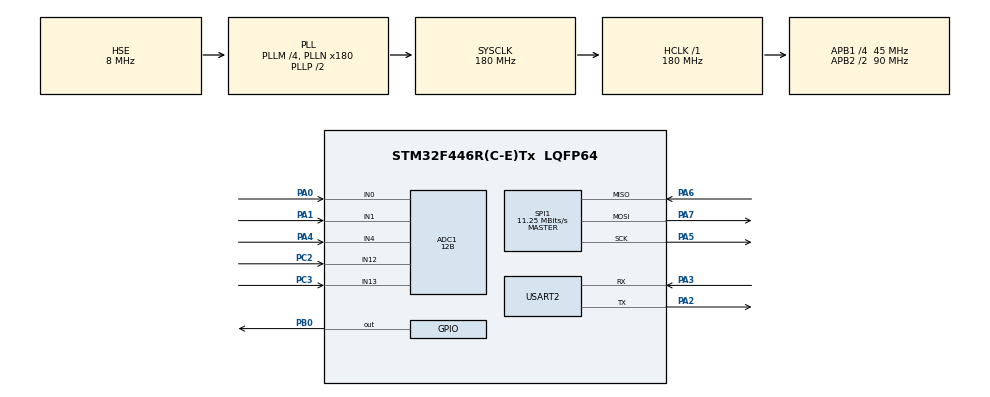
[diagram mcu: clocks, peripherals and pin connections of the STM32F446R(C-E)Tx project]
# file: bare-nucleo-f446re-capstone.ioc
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ADC1.Channel-0\#ChannelRegularConversion=ADC_CHANNEL_0
ADC1.Channel-1\#ChannelRegularConversion=ADC_CHANNEL_1
ADC1.Channel-2\#ChannelRegularConversion=ADC_CHANNEL_12
ADC1.Channel-3\#ChannelRegularConversion=ADC_CHANNEL_13
ADC1.Channel-4\#ChannelRegularConversion=ADC_CHANNEL_4
ADC1.ClockPrescaler=ADC_CLOCK_SYNC_PCLK_DIV4
ADC1.ContinuousConvMode=ENABLE
ADC1.DMAContinuousRequests=ENABLE
ADC1.EnableAnalogWatchDog=false
ADC1.NbrOfConversion=5
ADC1.NbrOfConversionFlag=1
ADC1.Rank-0\#ChannelRegularConversion=1
ADC1.Rank-1\#ChannelRegularConversion=2
ADC1.Rank-2\#ChannelRegularConversion=3
ADC1.Rank-3\#ChannelRegularConversion=4
ADC1.Rank-4\#ChannelRegularConversion=5
ADC1.Resolution=ADC_RESOLUTION_12B
ADC1.SamplingTime-0\#ChannelRegularConversion=ADC_SAMPLETIME_480CYCLES
ADC1.SamplingTime-1\#ChannelRegularConversion=ADC_SAMPLETIME_480CYCLES
ADC1.SamplingTime-2\#ChannelRegularConversion=ADC_SAMPLETIME_480CYCLES
ADC1.SamplingTime-3\#ChannelRegularConversion=ADC_SAMPLETIME_480CYCLES
ADC1.SamplingTime-4\#ChannelRegularConversion=ADC_SAMPLETIME_480CYCLES
ADC1.ScanConvMode=ENABLE
ADC1.master=1
Dma.ADC1.0.Direction=DMA_PERIPH_TO_MEMORY
Dma.ADC1.0.FIFOMode=DMA_FIFOMODE_DISABLE
Dma.ADC1.0.Instance=DMA2_Stream0
Dma.ADC1.0.MemDataAlignment=DMA_MDATAALIGN_HALFWORD
Dma.ADC1.0.MemInc=DMA_MINC_ENABLE
Dma.ADC1.0.Mode=DMA_CIRCULAR
Dma.ADC1.0.PeriphDataAlignment=DMA_PDATAALIGN_HALFWORD
Dma.ADC1.0.PeriphInc=DMA_PINC_DISABLE
Dma.ADC1.0.Priority=DMA_PRIORITY_LOW
Dma.Request0=ADC1
FATFS._MAX_SS=4096
FATFS._USE_LFN=1
Mcu.Family=STM32F4
Mcu.Name=STM32F446R(C-E)Tx
Mcu.Package=LQFP64
NVIC.DMA2_Stream0_IRQn=true\:0\:0\:false\:false\:true\:false\:true\:true
NVIC.PriorityGroup=NVIC_PRIORITYGROUP_0
PA0-WKUP.Signal=ADCx_IN0
PA1.Signal=ADCx_IN1
PA13.Mode=Serial_Wire
PA13.Signal=SYS_JTMS-SWDIO
PA14.Mode=Serial_Wire
PA14.Signal=SYS_JTCK-SWCLK
PA2.Mode=Asynchronous
PA2.Signal=USART2_TX
PA3.Mode=Asynchronous
PA3.Signal=USART2_RX
PA4.Signal=ADCx_IN4
PA5.Mode=Full_Duplex_Master
PA5.Signal=SPI1_SCK
PA6.Mode=Full_Duplex_Master
PA6.Signal=SPI1_MISO
PA7.Mode=Full_Duplex_Master
PA7.Signal=SPI1_MOSI
PB0.Signal=GPIO_Output
PC2.Signal=ADCx_IN12
PC3.Signal=ADCx_IN13
PH0-OSC_IN.Mode=HSE-External-Oscillator
PH0-OSC_IN.Signal=RCC_OSC_IN
PH1-OSC_OUT.Mode=HSE-External-Oscillator
PH1-OSC_OUT.Signal=RCC_OSC_OUT
ProjectManager.HeapSize=0x200
ProjectManager.StackSize=0x400
ProjectManager.TargetToolchain=STM32CubeIDE
RCC.AHBFreq_Value=180000000
RCC.APB1CLKDivider=RCC_HCLK_DIV4
RCC.APB1Freq_Value=45000000
RCC.APB1TimFreq_Value=90000000
RCC.APB2CLKDivider=RCC_HCLK_DIV2
RCC.APB2Freq_Value=90000000
RCC.APB2TimFreq_Value=180000000
RCC.CortexFreq_Value=180000000
RCC.FLatency-AdvancedSettings=FLASH_LATENCY_5
RCC.HCLKFreq_Value=180000000
RCC.HSE_VALUE=8000000
RCC.HSI_VALUE=16000000
RCC.LSE_VALUE=32768
RCC.PLLM=4
RCC.PLLN=180
RCC.PLLQ=8
RCC.PLLSourceVirtual=RCC_PLLSOURCE_HSE
RCC.SYSCLKFreq_VALUE=180000000
RCC.SYSCLKSource=RCC_SYSCLKSOURCE_PLLCLK
RCC.USBFreq_Value=45000000
RCC.VCOOutputFreq_Value=360000000
SH.ADCx_IN0.0=ADC1_IN0,IN0
SH.ADCx_IN1.0=ADC1_IN1,IN1
SH.ADCx_IN12.0=ADC1_IN12,IN12
SH.ADCx_IN13.0=ADC1_IN13,IN13
SH.ADCx_IN4.0=ADC1_IN4,IN4
SPI1.BaudRatePrescaler=SPI_BAUDRATEPRESCALER_8
SPI1.CalculateBaudRate=11.25 MBits/s
SPI1.Direction=SPI_DIRECTION_2LINES
SPI1.Mode=SPI_MODE_MASTER
SPI1.VirtualType=VM_MASTER
USART2.VirtualMode=VM_ASYNC
VP_FATFS_VS_Generic.Mode=User_defined
VP_TIM1_VS_ClockSourceINT.Mode=Internal
board=NUCLEO-F446RE

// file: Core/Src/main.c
/* USER CODE BEGIN Header */
/**
  ******************************************************************************
  * @file           : main.c
  * @brief          : Main program body
  ******************************************************************************
  * @attention
  *
  * Copyright (c) 2023 STMicroelectronics.
  * All rights reserved.
  *
  * This software is licensed under terms that can be found in the LICENSE file
  * in the root directory of this software component.
  * If no LICENSE file comes with this software, it is provided AS-IS.
  *
  ******************************************************************************
  */
/* USER CODE END Header */
#include "main.h"
#include "fatfs.h"

/* USER CODE BEGIN Includes */
#include "fatfs_sd.h"
#include "string.h"
#include <stdio.h>
#include <math.h>

/* USER CODE END Includes */

/* USER CODE BEGIN PD */

// Number of channels being read by ADC (set to 5 when ready)
#define NUM_CHANNELS 4000
// Number of samples per channel
#define NUM_SAMPLES 800
// Total number of samples across each channel (5*800 = buffer size of 4000)
#define TOTAL_SAMPLES (NUM_CHANNELS*NUM_SAMPLES)

// * Buffer that might be used for saving to SD card *
#define BUFFER_SIZE 128

/* USER CODE END PD */

ADC_HandleTypeDef hadc1;
DMA_HandleTypeDef hdma_adc1;

SPI_HandleTypeDef hspi1;

TIM_HandleTypeDef htim1;

UART_HandleTypeDef huart2;

/* USER CODE BEGIN PV */

// Store ADC values for each channel

// 16 bit (Half Word) ADC DMA data width
// ADC array for data (size of 5, width of 16 bits)
uint16_t adc_data[NUM_CHANNELS];
uint16_t SD_value[NUM_CHANNELS];

uint16_t adc_buf_max;

static volatile uint16_t *fromADC_Ptr;
static volatile uint16_t *toSD_Ptr = &adc_data[0];

volatile uint8_t dataReady = 0;

/* USER CODE END PV */

void SystemClock_Config(void);
static void MX_GPIO_Init(void);
static void MX_DMA_Init(void);
static void MX_SPI1_Init(void);
static void MX_ADC1_Init(void);
static void MX_TIM1_Init(void);
static void MX_USART2_UART_Init(void);

/* USER CODE BEGIN 0 */

//_____Print to console
int __io_putchar(int ch){
	HAL_UART_Transmit(&huart2, (uint8_t *)&ch, 1, 0xFFFF);
	return ch;
}

int _write(int file, char *ptr, int len){
	int DataIdx;
	for(DataIdx = 0; DataIdx < len; DataIdx++){
		__io_putchar(*ptr++);
	}
	return len;
}

uint8_t count = 0;

//_____Mount and write to SD card
FATFS fs; // file system
FIL fil; // file (this needs to be changed)
FRESULT fresult;
UINT br, bw;
FATFS *pfs;
DWORD fre_clust;
uint32_t total, free_space;

// Buffer for UART? Might not even need this
char buffer[1024];

// Send data through UART
void send_uart(char *string){
	uint8_t len = strlen(string);
	HAL_UART_Transmit(&huart2, (uint8_t *) string, len, 2000);
}

// Find the size of data in buffer
int bufsize(char *buf){
	int i = 0;
	while(*buf++ != '\0'){
		i++;
	}
	return i;
}

// Clear buffer
void bufclear(void){
	for(int i = 0; i < 1024; i++){
		buffer[i] = '\0';
	}
}

// Size of buffer may need to match size of input buffer from sensors?
// Needs to be divisible by the number of bytes in each line
// that I am writing to the SD card

// Called when buffer is half filled
void HAL_ADC_ConvHalfCpltCallback(ADC_HandleTypeDef* hadc) {
	fromADC_Ptr = &adc_data[0];
	toSD_Ptr = &SD_value[0];

	dataReady = 1;
}

// Called when buffer is completely filled
void HAL_ADC_ConvCpltCallback(ADC_HandleTypeDef* hadc) {
	fromADC_Ptr = &adc_data[NUM_CHANNELS/2];
	toSD_Ptr = &SD_value[NUM_CHANNELS/2];

	dataReady = 1;
}

/* USER CODE END 0 */

int main(void)
{

  /* MCU Configuration--------------------------------------------------------*/

  /* Reset of all peripherals, Initializes the Flash interface and the Systick. */
  HAL_Init();

  /* Configure the system clock */
  SystemClock_Config();

  /* Initialize all configured peripherals */
  MX_GPIO_Init();
  MX_DMA_Init();
  MX_SPI1_Init();
  MX_FATFS_Init();
  MX_ADC1_Init();
  MX_TIM1_Init();
  MX_USART2_UART_Init();
  /* USER CODE BEGIN 2 */

  // Start DMA buffer
  // Might need to stop DMA at some point
  HAL_ADC_Start_DMA(&hadc1, (uint16_t*)adc_data, NUM_CHANNELS);

  adc_buf_max = 0;

  // What should I initialize these values to?
  // I could just not initialize them to a value, but then
  // use a HAL delay once the program starts so there is an
  // extremely quick (1 ms) grace period where it isn't checking
  // for explosions, but still filling the DMA buffer?
  uint16_t previous_audio;
  uint16_t previous_pressure;
  uint16_t previous_acc;

  uint16_t previous_acc_x;
  uint16_t previous_acc_y;
  uint16_t previous_acc_z;

  uint16_t current_audio;
  uint16_t current_pressure;
  uint16_t current_acc;

  uint16_t current_acc_x;
  uint16_t current_acc_y;
  uint16_t current_acc_z;

  // Mount SD card
  fresult = f_mount(&fs, "", 0);

  if(fresult != FR_OK){
	  send_uart("error in mounting SD card...\n");
  }
  else{
	  send_uart("SD card mounted successfully...\n");
  }

  // Check free space on SD card
  f_getfree("", &fre_clust, &pfs);

  total = (uint32_t)((pfs->n_fatent - 2) * pfs->csize * 0.5);
  sprintf(buffer, "SD card total size: \t%lu\n", total);
  send_uart(buffer);
  bufclear();
  free_space = (uint32_t)(fre_clust * pfs->csize * 0.5);
  sprintf(buffer, "SD card free space: \t%lu\n", free_space);
  send_uart(buffer);

  // ********** Using puts puts and gets **********

  // Open file 1, write to file, then close file
  fresult = f_open(&fil, "file1.txt", FA_OPEN_ALWAYS | FA_READ | FA_WRITE);
  fresult = f_puts("This data is from the first file\n\n", &fil);
  fresult = f_close(&fil);
  send_uart("file1.txt created and the data is written\n");
  fresult = f_open(&fil, "file1.txt", FA_READ);
  // Everything worked good except the "fil.fsize" reference
  // This has been replaced in ChaN's FatFs R0.12c version with f_size(&fil)
  f_gets(buffer, f_size(&fil), &fil);
  send_uart(buffer);
  f_close(&fil);
  bufclear();

  // ********** Using f_write and f_read **********

  // Open file 2
  fresult = f_open(&fil, "file2.txt", FA_OPEN_ALWAYS | FA_READ | FA_WRITE);
  // Write to file 2
  strcpy(buffer, "This is file 2 and it says 'Hello from Ethan!'\n");
  fresult = f_write(&fil, buffer, bufsize(buffer), &bw);
  send_uart("file 2.txt created and data is written\n");
  // Close file 2
  f_close(&fil);
  // Clear buffer to show that text is obtained from the file
  bufclear();

  // ********** UPDATE an existing file **********
  // Open file with write access
  fresult = f_open(&fil, "file2.txt", FA_OPEN_ALWAYS | FA_WRITE);
  // Move offset to end of file (append) (offset = file size)
  fresult = f_lseek(&fil, f_size(&fil));
  // Write string to file
  fresult = f_puts("This text should be appended\n", &fil);
  // Write string to file
  fresult = f_printf(&fil, "%d %s", 2023, "is the current year\n");
  // Close file
  f_close(&fil);

  // Open buffer file
  fresult = f_open(&fil, "adc_data.txt", FA_OPEN_ALWAYS | FA_WRITE);

  /* USER CODE END 2 */

  /* Infinite loop */
  /* USER CODE BEGIN WHILE */
  while (1)
  {
	  // bare-nucleo-f446re-capstone

    /* USER CODE END WHILE */

    /* USER CODE BEGIN 3 */

	  // Initialize respective sensor data variables
	  current_audio = adc_data[0];
	  current_pressure = adc_data[1];
	  current_acc = sqrt(pow(adc_data[2], 2) + pow(adc_data[3], 2) + pow(adc_data[4], 2));

	  current_acc_x = adc_data[2];
	  current_acc_y = adc_data[3];
	  current_acc_z = adc_data[4];

	  while(dataReady == 0) {
		  // Do stuff here with one half of ADC while
		  // other half is being filled?
		  fresult = f_lseek(&fil, f_size(&fil));
		  fresult = f_printf(&fil, "ADC channel 0 (audio) = %d\n", current_audio);
		  // fresult = f_sync(&fil);

		  // Increment count
		  count++;
	  }
	  dataReady = 0;

	  // FIXME: Change delay to be every microsecond (0.001)?
	  // HAL_Delay(250);

	  // Function to tell when DMA buffer is full
	  // When buffer full, write entire buffer to SD card
	  // Big for loop to loop through every value of buffer
	  // so that I can format each value properly?

//	  // Open new file to save count variable
//	  fresult = f_open(&fil, "ADC_count_log.txt", FA_OPEN_ALWAYS | FA_WRITE);
//	  // Move offset to end of file (append) (offset = file size)
//	  fresult = f_lseek(&fil, f_size(&fil));
//	  // Write string to file
//	  fresult = f_printf(&fil, "count = %d\n", count);
//	  // Close file
//	  f_close(&fil);

	  // The current samples will be the "previous" samples for the next samples
	  previous_audio = current_audio;
	  previous_pressure = current_pressure;
	  previous_acc = current_acc;

	  previous_acc_x = current_acc_x;
	  previous_acc_y = current_acc_y;
	  previous_acc_z = current_acc_z;

	  // Stop when count is a certain value (leads to unmount SD card)
	  if(count == 100) {
		  break;
	  }

  }

  // Stop ADC DMA and disable ADC
  HAL_ADC_Stop_DMA(&hadc1);

  // Close buffer file
  f_close(&fil);

  // After while loop when break
  // Unmount SD card
  fresult = f_mount(NULL, "", 1);

  /* USER CODE END 3 */
}

void SystemClock_Config(void)
{
  RCC_OscInitTypeDef RCC_OscInitStruct = {0};
  RCC_ClkInitTypeDef RCC_ClkInitStruct = {0};

  /** Configure the main internal regulator output voltage
  */
  __HAL_RCC_PWR_CLK_ENABLE();
  __HAL_PWR_VOLTAGESCALING_CONFIG(PWR_REGULATOR_VOLTAGE_SCALE1);

  /** Initializes the RCC Oscillators according to the specified parameters
  * in the RCC_OscInitTypeDef structure.
  */
  RCC_OscInitStruct.OscillatorType = RCC_OSCILLATORTYPE_HSE;
  RCC_OscInitStruct.HSEState = RCC_HSE_ON;
  RCC_OscInitStruct.PLL.PLLState = RCC_PLL_ON;
  RCC_OscInitStruct.PLL.PLLSource = RCC_PLLSOURCE_HSE;
  RCC_OscInitStruct.PLL.PLLM = 4;
  RCC_OscInitStruct.PLL.PLLN = 180;
  RCC_OscInitStruct.PLL.PLLP = RCC_PLLP_DIV2;
  RCC_OscInitStruct.PLL.PLLQ = 8;
  RCC_OscInitStruct.PLL.PLLR = 2;
  if (HAL_RCC_OscConfig(&RCC_OscInitStruct) != HAL_OK)
  {
    Error_Handler();
  }

  /** Activate the Over-Drive mode
  */
  if (HAL_PWREx_EnableOverDrive() != HAL_OK)
  {
    Error_Handler();
  }

  /** Initializes the CPU, AHB and APB buses clocks
  */
  RCC_ClkInitStruct.ClockType = RCC_CLOCKTYPE_HCLK|RCC_CLOCKTYPE_SYSCLK
                              |RCC_CLOCKTYPE_PCLK1|RCC_CLOCKTYPE_PCLK2;
  RCC_ClkInitStruct.SYSCLKSource = RCC_SYSCLKSOURCE_PLLCLK;
  RCC_ClkInitStruct.AHBCLKDivider = RCC_SYSCLK_DIV1;
  RCC_ClkInitStruct.APB1CLKDivider = RCC_HCLK_DIV4;
  RCC_ClkInitStruct.APB2CLKDivider = RCC_HCLK_DIV2;

  if (HAL_RCC_ClockConfig(&RCC_ClkInitStruct, FLASH_LATENCY_5) != HAL_OK)
  {
    Error_Handler();
  }
}

static void MX_ADC1_Init(void)
{

  ADC_ChannelConfTypeDef sConfig = {0};

  /** Configure the global features of the ADC (Clock, Resolution, Data Alignment and number of conversion)
  */
  hadc1.Instance = ADC1;
  hadc1.Init.ClockPrescaler = ADC_CLOCK_SYNC_PCLK_DIV4;
  hadc1.Init.Resolution = ADC_RESOLUTION_12B;
  hadc1.Init.ScanConvMode = ENABLE;
  hadc1.Init.ContinuousConvMode = ENABLE;
  hadc1.Init.DiscontinuousConvMode = DISABLE;
  hadc1.Init.ExternalTrigConvEdge = ADC_EXTERNALTRIGCONVEDGE_NONE;
  hadc1.Init.ExternalTrigConv = ADC_SOFTWARE_START;
  hadc1.Init.DataAlign = ADC_DATAALIGN_RIGHT;
  hadc1.Init.NbrOfConversion = 5;
  hadc1.Init.DMAContinuousRequests = ENABLE;
  hadc1.Init.EOCSelection = ADC_EOC_SINGLE_CONV;
  if (HAL_ADC_Init(&hadc1) != HAL_OK)
  {
    Error_Handler();
  }

  /** Configure for the selected ADC regular channel its corresponding rank in the sequencer and its sample time.
  */
  sConfig.Channel = ADC_CHANNEL_0;
  sConfig.Rank = 1;
  sConfig.SamplingTime = ADC_SAMPLETIME_480CYCLES;
  if (HAL_ADC_ConfigChannel(&hadc1, &sConfig) != HAL_OK)
  {
    Error_Handler();
  }

  /** Configure for the selected ADC regular channel its corresponding rank in the sequencer and its sample time.
  */
  sConfig.Channel = ADC_CHANNEL_1;
  sConfig.Rank = 2;
  if (HAL_ADC_ConfigChannel(&hadc1, &sConfig) != HAL_OK)
  {
    Error_Handler();
  }

  /** Configure for the selected ADC regular channel its corresponding rank in the sequencer and its sample time.
  */
  sConfig.Channel = ADC_CHANNEL_12;
  sConfig.Rank = 3;
  if (HAL_ADC_ConfigChannel(&hadc1, &sConfig) != HAL_OK)
  {
    Error_Handler();
  }

  /** Configure for the selected ADC regular channel its corresponding rank in the sequencer and its sample time.
  */
  sConfig.Channel = ADC_CHANNEL_13;
  sConfig.Rank = 4;
  if (HAL_ADC_ConfigChannel(&hadc1, &sConfig) != HAL_OK)
  {
    Error_Handler();
  }

  /** Configure for the selected ADC regular channel its corresponding rank in the sequencer and its sample time.
  */
  sConfig.Channel = ADC_CHANNEL_4;
  sConfig.Rank = 5;
  if (HAL_ADC_ConfigChannel(&hadc1, &sConfig) != HAL_OK)
  {
    Error_Handler();
  }

}

static void MX_SPI1_Init(void)
{

  /* SPI1 parameter configuration*/
  hspi1.Instance = SPI1;
  hspi1.Init.Mode = SPI_MODE_MASTER;
  hspi1.Init.Direction = SPI_DIRECTION_2LINES;
  hspi1.Init.DataSize = SPI_DATASIZE_8BIT;
  hspi1.Init.CLKPolarity = SPI_POLARITY_LOW;
  hspi1.Init.CLKPhase = SPI_PHASE_1EDGE;
  hspi1.Init.NSS = SPI_NSS_SOFT;
  hspi1.Init.BaudRatePrescaler = SPI_BAUDRATEPRESCALER_8;
  hspi1.Init.FirstBit = SPI_FIRSTBIT_MSB;
  hspi1.Init.TIMode = SPI_TIMODE_DISABLE;
  hspi1.Init.CRCCalculation = SPI_CRCCALCULATION_DISABLE;
  hspi1.Init.CRCPolynomial = 10;
  if (HAL_SPI_Init(&hspi1) != HAL_OK)
  {
    Error_Handler();
  }

}

static void MX_TIM1_Init(void)
{

  TIM_ClockConfigTypeDef sClockSourceConfig = {0};
  TIM_MasterConfigTypeDef sMasterConfig = {0};

  htim1.Instance = TIM1;
  htim1.Init.Prescaler = 0;
  htim1.Init.CounterMode = TIM_COUNTERMODE_UP;
  htim1.Init.Period = 65535;
  htim1.Init.ClockDivision = TIM_CLOCKDIVISION_DIV1;
  htim1.Init.RepetitionCounter = 0;
  htim1.Init.AutoReloadPreload = TIM_AUTORELOAD_PRELOAD_DISABLE;
  if (HAL_TIM_Base_Init(&htim1) != HAL_OK)
  {
    Error_Handler();
  }
  sClockSourceConfig.ClockSource = TIM_CLOCKSOURCE_INTERNAL;
  if (HAL_TIM_ConfigClockSource(&htim1, &sClockSourceConfig) != HAL_OK)
  {
    Error_Handler();
  }
  sMasterConfig.MasterOutputTrigger = TIM_TRGO_RESET;
  sMasterConfig.MasterSlaveMode = TIM_MASTERSLAVEMODE_DISABLE;
  if (HAL_TIMEx_MasterConfigSynchronization(&htim1, &sMasterConfig) != HAL_OK)
  {
    Error_Handler();
  }

}

static void MX_USART2_UART_Init(void)
{

  huart2.Instance = USART2;
  huart2.Init.BaudRate = 115200;
  huart2.Init.WordLength = UART_WORDLENGTH_8B;
  huart2.Init.StopBits = UART_STOPBITS_1;
  huart2.Init.Parity = UART_PARITY_NONE;
  huart2.Init.Mode = UART_MODE_TX_RX;
  huart2.Init.HwFlowCtl = UART_HWCONTROL_NONE;
  huart2.Init.OverSampling = UART_OVERSAMPLING_16;
  if (HAL_UART_Init(&huart2) != HAL_OK)
  {
    Error_Handler();
  }

}

static void MX_DMA_Init(void)
{

  /* DMA controller clock enable */
  __HAL_RCC_DMA2_CLK_ENABLE();

  /* DMA interrupt init */
  /* DMA2_Stream0_IRQn interrupt configuration */
  HAL_NVIC_SetPriority(DMA2_Stream0_IRQn, 0, 0);
  HAL_NVIC_EnableIRQ(DMA2_Stream0_IRQn);

}

static void MX_GPIO_Init(void)
{
  GPIO_InitTypeDef GPIO_InitStruct = {0};

  /* GPIO Ports Clock Enable */
  __HAL_RCC_GPIOH_CLK_ENABLE();
  __HAL_RCC_GPIOC_CLK_ENABLE();
  __HAL_RCC_GPIOA_CLK_ENABLE();
  __HAL_RCC_GPIOB_CLK_ENABLE();

  /*Configure GPIO pin Output Level */
  HAL_GPIO_WritePin(GPIOB, GPIO_PIN_0, GPIO_PIN_RESET);

  /*Configure GPIO pin : PB0 */
  GPIO_InitStruct.Pin = GPIO_PIN_0;
  GPIO_InitStruct.Mode = GPIO_MODE_OUTPUT_PP;
  GPIO_InitStruct.Pull = GPIO_NOPULL;
  GPIO_InitStruct.Speed = GPIO_SPEED_FREQ_LOW;
  HAL_GPIO_Init(GPIOB, &GPIO_InitStruct);

}

void Error_Handler(void)
{
  __disable_irq();
  while (1)
  {
  }
}
